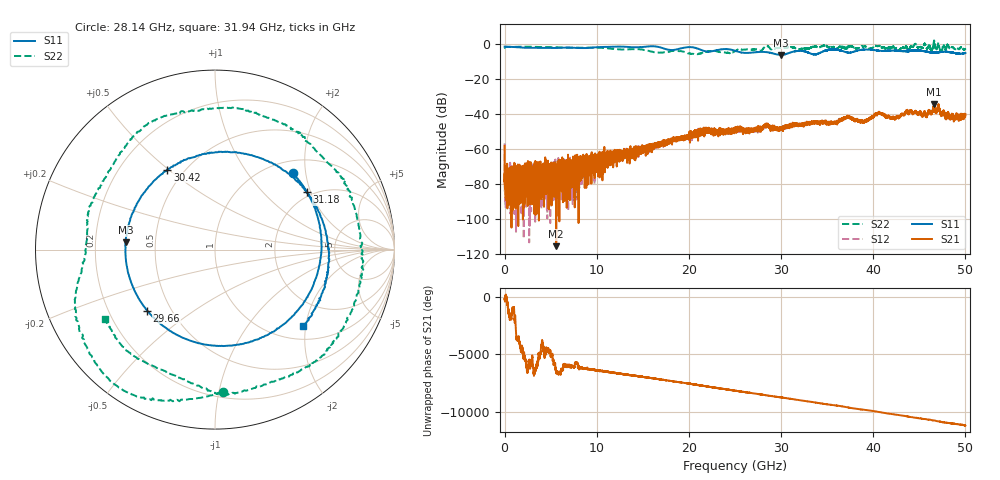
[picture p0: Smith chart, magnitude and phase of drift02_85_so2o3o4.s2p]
!Created with skrf (http://scikit-rf.org).
# Hz S RI R 50.0
!freq ReS11 ImS11 ReS21 ImS21 ReS12 ImS12 ReS22 ImS22
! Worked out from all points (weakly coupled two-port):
!   10001 points, 300 kHz to 50 GHz, reference 50 ohm
!   highest |S21| = -34.25 dB at 46.59 GHz (marker M1); lowest = -115.5 dB at 5.6 GHz (marker M2)
!   lowest |S11| = -6.1 dB at 30.01 GHz (marker M3), VSWR 2.99, Z = 16.8 + j1.77 ohm
!   |S11| at or under -10 dB: nowhere
!   |S22| runs from -5.7 to 2.2 dB; largest |S21 - S12| = 0.0032
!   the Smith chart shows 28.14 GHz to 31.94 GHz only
!   S11 on the Smith chart (normalised r, x): 28.14 GHz: 1.25, +1.69; 29.66 GHz: 0.37, -0.34; 30.42 GHz: 0.41, +0.50; 31.18 GHz: 1.86, +1.89; 31.94 GHz: 1.30, -1.92
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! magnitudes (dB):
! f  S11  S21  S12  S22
! 300 kHz  -1.3  -58.1  -56.7  -2.1
! 260.3 MHz  -1.4  -82.3  -74.8  -1.4
! 5.6 GHz  -2.1  -115.5  -79.2  -1.7
! 8.335 GHz  -2.2  -66.9  -70.3  -1.9
! 16.67 GHz  -1.4  -58.0  -56.3  -4.7
! 21.66 GHz  -3.8  -52.7  -50.9  -4.7
! 25 GHz  -3.7  -48.6  -48.4  -3.9
! 28.14 GHz  -4.3  -46.3  -47.6  -2.0
! 29.66 GHz  -5.9  -47.7  -48.0  -2.1
! 30.01 GHz  -6.1  -49.0  -47.7  -2.0
! 30.42 GHz  -5.7  -46.9  -47.3  -1.8
! 31.18 GHz  -4.4  -46.3  -46.3  -1.6
! 31.94 GHz  -3.8  -46.0  -46.3  -2.8
! 33.34 GHz  -5.5  -44.3  -44.6  -1.5
! 35.63 GHz  -2.9  -44.8  -44.9  -1.5
! 37.26 GHz  -4.7  -41.3  -41.2  -1.4
! 38.85 GHz  -3.1  -44.3  -44.5  -1.3
! 40.6 GHz  -3.6  -38.8  -38.7  -0.8
! 41.67 GHz  -3.6  -40.9  -41.1  -2.0
! 46.59 GHz  -4.7  -34.3  -34.7  1.8
! 48.55 GHz  -4.6  -40.8  -40.8  -1.6
! 50 GHz  -5.0  -39.8  -40.2  -2.6
